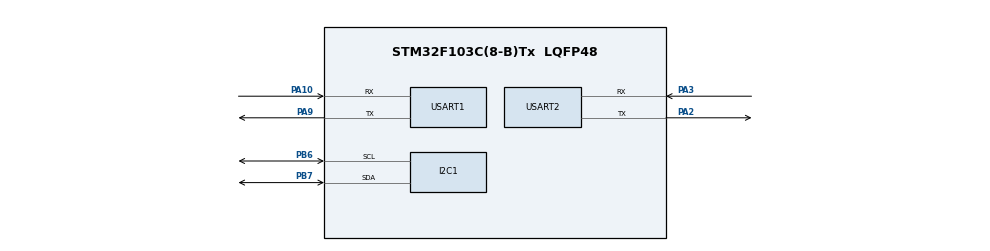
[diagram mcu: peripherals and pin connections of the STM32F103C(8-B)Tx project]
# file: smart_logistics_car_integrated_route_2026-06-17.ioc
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Mcu.Family=STM32F1
Mcu.Name=STM32F103C(8-B)Tx
Mcu.Package=LQFP48
NVIC.PriorityGroup=NVIC_PRIORITYGROUP_4
NVIC.USART2_IRQn=true\:0\:0\:false\:false\:true\:true\:true\:true
PA10.Mode=Asynchronous
PA10.Signal=USART1_RX
PA13.Mode=Serial_Wire
PA13.Signal=SYS_JTMS-SWDIO
PA14.Mode=Serial_Wire
PA14.Signal=SYS_JTCK-SWCLK
PA2.Mode=Asynchronous
PA2.Signal=USART2_TX
PA3.Mode=Asynchronous
PA3.Signal=USART2_RX
PA9.Mode=Asynchronous
PA9.Signal=USART1_TX
PB6.Mode=I2C
PB6.Signal=I2C1_SCL
PB7.Mode=I2C
PB7.Signal=I2C1_SDA
ProjectManager.HeapSize=0x200
ProjectManager.StackSize=0x800
ProjectManager.TargetToolchain=STM32CubeIDE
RCC.APB1Freq_Value=8000000
RCC.APB2Freq_Value=8000000
USART1.VirtualMode=VM_ASYNC
USART2.VirtualMode=VM_ASYNC
board=custom

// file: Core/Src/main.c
/* USER CODE BEGIN Header */
/**
  ******************************************************************************
  * @file           : main.c
  * @brief          : Main program body
  ******************************************************************************
  * @attention
  *
  * Copyright (c) 2026 STMicroelectronics.
  * All rights reserved.
  *
  * This software is licensed under terms that can be found in the LICENSE file
  * in the root directory of this software component.
  * If no LICENSE file comes with this software, it is provided AS-IS.
  *
  ******************************************************************************
  */
/* USER CODE END Header */
#include "main.h"
#include "i2c.h"
#include "usart.h"
#include "gpio.h"

/* USER CODE BEGIN Includes */
#include "board_app.h"
#include "config.h"
#include "csv_debug.h"
#include "mecanum.h"
#include "remote_cmd.h"
#include "../../UserModules/competition_route/competition_route.h"

/* USER CODE END Includes */

/* USER CODE BEGIN PD */
#define APP_LOOP_PERIOD_MS          10U
/* USER CODE END PD */

void SystemClock_Config(void);
/* USER CODE BEGIN PFP */
extern UART_HandleTypeDef huart1;
extern UART_HandleTypeDef huart2;
/* USER CODE END PFP */

int main(void)
{

  /* MCU Configuration--------------------------------------------------------*/

  /* Reset of all peripherals, Initializes the Flash interface and the Systick. */
  HAL_Init();

  /* Configure the system clock */
  SystemClock_Config();

  /* Initialize all configured peripherals */
  MX_GPIO_Init();
#if (FIXED_ROUTE_STANDALONE_ENABLE == 0U)
  MX_I2C1_Init();
#endif
  MX_USART1_UART_Init();
#if (FIXED_ROUTE_STANDALONE_ENABLE == 0U)
  MX_USART2_UART_Init();
#endif
  /* USER CODE BEGIN 2 */
#if (FIXED_ROUTE_STANDALONE_ENABLE == 0U)
  Board_App_Init();
#endif

  /* Hardware V3: USART1(PA9/PA10) is the dedicated RS485/ZDT_X42 motor bus. */
  Mecanum_Init(&huart1);

#if (FIXED_ROUTE_STANDALONE_ENABLE == 0U)
  /* Hardware V3: USART2(PA2/PA3) is the Raspberry Pi command/status link. */
  RemoteCmd_Init(&huart2);
#endif

  /* Competition fixed-route executor. In standalone mode it starts without sensors/RPi. */
  CompetitionRoute_Init();

  /* USER CODE END 2 */

  /* Infinite loop */
  while (1)
  {

    /* USER CODE BEGIN 3 */
#if (FIXED_ROUTE_STANDALONE_ENABLE == 0U)
    Board_App_Loop();
    CSV_Debug_Loop(&huart2);
    RemoteCmd_Loop();
#endif
    CompetitionRoute_Loop();
    Mecanum_PeriodicTask();
    HAL_Delay(APP_LOOP_PERIOD_MS);
  }
  /* USER CODE END 3 */
}

void SystemClock_Config(void)
{
  RCC_OscInitTypeDef RCC_OscInitStruct = {0};
  RCC_ClkInitTypeDef RCC_ClkInitStruct = {0};

  /** Initializes the RCC Oscillators according to the specified parameters
  * in the RCC_OscInitTypeDef structure.
  */
  RCC_OscInitStruct.OscillatorType = RCC_OSCILLATORTYPE_HSI;
  RCC_OscInitStruct.HSIState = RCC_HSI_ON;
  RCC_OscInitStruct.HSICalibrationValue = RCC_HSICALIBRATION_DEFAULT;
  RCC_OscInitStruct.PLL.PLLState = RCC_PLL_NONE;
  if (HAL_RCC_OscConfig(&RCC_OscInitStruct) != HAL_OK)
  {
    Error_Handler();
  }

  /** Initializes the CPU, AHB and APB buses clocks
  */
  RCC_ClkInitStruct.ClockType = RCC_CLOCKTYPE_HCLK|RCC_CLOCKTYPE_SYSCLK
                              |RCC_CLOCKTYPE_PCLK1|RCC_CLOCKTYPE_PCLK2;
  RCC_ClkInitStruct.SYSCLKSource = RCC_SYSCLKSOURCE_HSI;
  RCC_ClkInitStruct.AHBCLKDivider = RCC_SYSCLK_DIV1;
  RCC_ClkInitStruct.APB1CLKDivider = RCC_HCLK_DIV1;
  RCC_ClkInitStruct.APB2CLKDivider = RCC_HCLK_DIV1;

  if (HAL_RCC_ClockConfig(&RCC_ClkInitStruct, FLASH_LATENCY_0) != HAL_OK)
  {
    Error_Handler();
  }
}

/* USER CODE BEGIN 4 */
void HAL_UART_RxCpltCallback(UART_HandleTypeDef *huart)
{
#if (FIXED_ROUTE_STANDALONE_ENABLE == 0U)
    Board_App_UartRxCpltCallback(huart);
    RemoteCmd_UartRxCpltCallback(huart);
#else
    (void)huart;
#endif
}
/* USER CODE END 4 */

void Error_Handler(void)
{
  __disable_irq();
  while (1)
  {
  }
}
